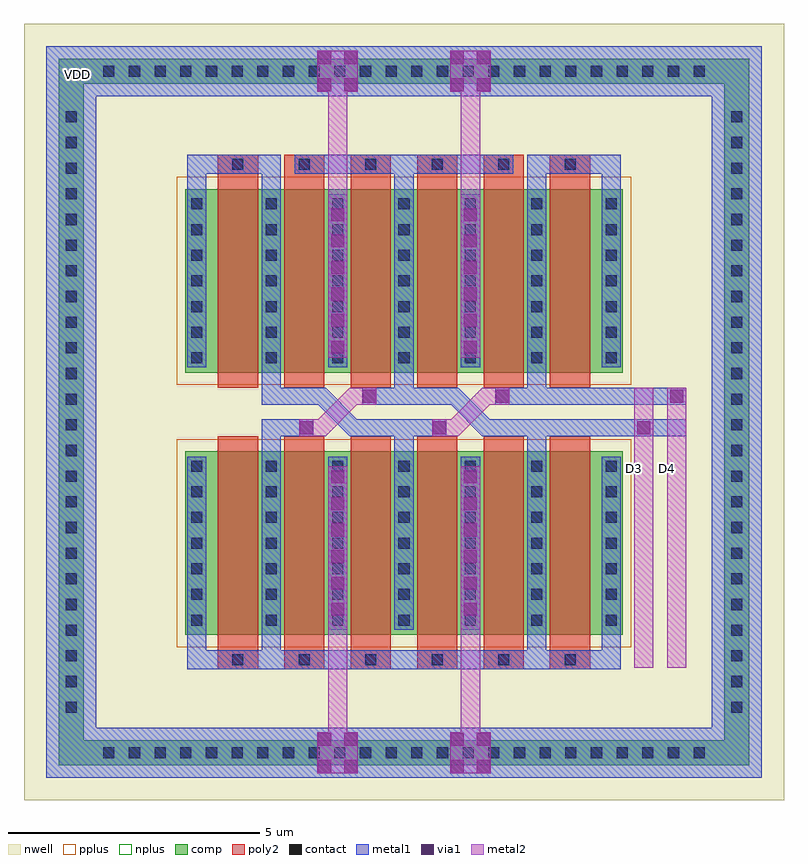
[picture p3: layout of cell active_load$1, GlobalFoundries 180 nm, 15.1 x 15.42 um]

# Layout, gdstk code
import gdstk
lib = gdstk.Library(unit=1e-6, precision=1e-09)
def R(c, l, rs):  # rectangles x0, y0, x1, y1
    for r in rs: c.add(gdstk.rectangle(r[:2], r[2:], *l))
def A(c, l, x, y, w, h, nx, ny, dx, dy):  # array of equal rectangles
    R(c, l, [(x+i*dx, y+j*dy, x+i*dx+w, y+j*dy+h) for i in range(nx) for j in range(ny)])
nwell = (21, 0)
comp = (22, 0)
poly2 = (30, 0)
pplus = (31, 0)
nplus = (32, 0)
contact = (33, 0)
metal1 = (34, 0)
via1 = (35, 0)
metal2 = (36, 0)

pfet_11 = lib.new_cell('pfet$11')
R(pfet_11, nwell, [(-0.9,-0.44,8.68,4.09)])
R(pfet_11, comp, [(-0.46,0,0,3.65), (0,0,7.78,3.65), (7.78,0,8.24,3.65)])
A(pfet_11, poly2, 0.19, -0.3, 0.8, 4.25, 6, 1, 1.32, 0)
A(pfet_11, poly2, 0.19, 3.95, 0.8, 0.38, 6, 1, 1.32, 0)
R(pfet_11, pplus, [(-0.63,-0.24,8.41,3.89)])
A(pfet_11, contact, -0.34, 0.185, 0.22, 0.22, 1, 7, 0, 0.51)
A(pfet_11, contact, 1.14, 0.185, 0.22, 0.22, 5, 7, 1.32, 0.51)
A(pfet_11, contact, 7.9, 0.185, 0.22, 0.22, 1, 7, 0, 0.51)
A(pfet_11, contact, 0.48, 4.03, 0.22, 0.22, 6, 1, 1.32, 0)
A(pfet_11, metal1, 1.06, 0.105, 0.38, 3.44, 5, 1, 1.32, 0)
A(pfet_11, metal1, 0.4, 3.95, 0.38, 0.38, 6, 1, 1.32, 0)
R(pfet_11, metal1, [(-0.42,0.105,-0.04,3.545), (7.82,0.105,8.2,3.545)])

active_load_1 = lib.new_cell('active_load$1')
R(active_load_1, nwell, [(-4.125,-7.84,10.975,7.58)])
A(active_load_1, contact, -2.55, -7.01, 0.22, 0.22, 24, 2, 0.51, 13.54)
A(active_load_1, contact, -3.295, -6.105, 0.22, 0.22, 1, 24, 0, 0.51)
A(active_load_1, contact, 9.925, -6.105, 0.22, 0.22, 1, 24, 0, 0.51)
A(active_load_1, via1, 1.975, -3.125, 0.26, 0.26, 1, 3, 0, 0.52)
A(active_load_1, via1, 4.615, -3.125, 0.26, 0.26, 1, 3, 0, 0.52)
A(active_load_1, via1, 1.975, 1.565, 0.26, 0.26, 1, 3, 0, 0.52)
A(active_load_1, via1, 4.615, 1.565, 0.26, 0.26, 1, 3, 0, 0.52)
R(active_load_1, via1, [(1.715,-7.295,1.975,-7.035), (2.235,-7.295,2.495,-7.035), (4.355,-7.295,4.615,-7.035), (4.875,-7.295,5.135,-7.035), (1.715,-6.765,1.975,-6.505), (2.235,-6.765,2.495,-6.505), (4.355,-6.765,4.615,-6.505), (4.875,-6.765,5.135,-6.505), (1.975,-4.18,2.235,-3.92), (4.615,-4.18,4.875,-3.92), (1.975,-3.66,2.235,-3.4), (4.615,-3.66,4.875,-3.4), (1.975,-1.55,2.235,-1.29), (4.615,-1.55,4.875,-1.29), (1.355,-0.57,1.615,-0.31), (3.995,-0.57,4.255,-0.31), (8.055,-0.57,8.315,-0.31), (2.605,0.05,2.865,0.31), (5.245,0.05,5.505,0.31), (8.715,0.05,8.975,0.31), (1.975,1.03,2.235,1.29), (4.615,1.03,4.875,1.29), (1.975,3.14,2.235,3.4), (4.615,3.14,4.875,3.4), (1.975,3.66,2.235,3.92), (4.615,3.66,4.875,3.92), (1.715,6.245,1.975,6.505), (2.235,6.245,2.495,6.505), (4.355,6.245,4.615,6.505), (4.875,6.245,5.135,6.505), (1.715,6.775,1.975,7.035), (2.235,6.775,2.495,7.035), (4.355,6.775,4.615,7.035), (4.875,6.775,5.135,7.035)])
R(active_load_1, metal2, [(1.705,-7.305,2.505,-6.495), (4.345,-7.305,5.145,-6.495), (1.705,6.235,2.505,7.045), (4.345,6.235,5.145,7.045)])
active_load_1.add(gdstk.FlexPath([(2.595,0.18),(4.435,0.18),(5.055,-0.44),(9.035,-0.44)], 0.34, ends="flush", simple_path=True, layer=34, datatype=0))  # metal1
active_load_1.add(gdstk.FlexPath([(0.595,0.18),(1.795,0.18),(2.415,-0.44),(4.265,-0.44)], 0.34, ends="flush", simple_path=True, layer=34, datatype=0))  # metal1
active_load_1.add(gdstk.FlexPath([(0.595,-0.44),(1.625,-0.44)], 0.34, ends="flush", simple_path=True, layer=34, datatype=0))  # metal1
active_load_1.add(gdstk.FlexPath([(5.235,0.18),(9.035,0.18)], 0.34, ends="flush", simple_path=True, layer=34, datatype=0))  # metal1
active_load_1.add(gdstk.FlexPath([(3.425,-0.61),(3.425,-1.015)], 0.38, ends="flush", simple_path=True, layer=34, datatype=0))  # metal1
active_load_1.add(gdstk.FlexPath([(0.785,0.755),(0.785,0.35)], 0.38, ends="flush", simple_path=True, layer=34, datatype=0))  # metal1
active_load_1.add(gdstk.FlexPath([(0.785,-0.61),(0.785,-1.015)], 0.38, ends="flush", simple_path=True, layer=34, datatype=0))  # metal1
active_load_1.add(gdstk.FlexPath([(3.425,0.755),(3.425,0.35)], 0.38, ends="flush", simple_path=True, layer=34, datatype=0))  # metal1
active_load_1.add(gdstk.FlexPath([(6.065,-0.61),(6.065,-1.015)], 0.38, ends="flush", simple_path=True, layer=34, datatype=0))  # metal1
active_load_1.add(gdstk.FlexPath([(6.065,0.755),(6.065,0.35)], 0.38, ends="flush", simple_path=True, layer=34, datatype=0))  # metal1
active_load_1.add(gdstk.FlexPath([(-0.695,-4.455),(-0.695,-4.86)], 0.38, ends="flush", simple_path=True, layer=34, datatype=0))  # metal1
active_load_1.add(gdstk.FlexPath([(-0.695,4.195),(-0.695,4.79),(0.785,4.79),(0.785,4.195)], 0.38, ends="flush", simple_path=True, layer=34, datatype=0))  # metal1
active_load_1.add(gdstk.FlexPath([(7.545,-4.455),(7.545,-4.86)], 0.38, ends="flush", simple_path=True, layer=34, datatype=0))  # metal1
active_load_1.add(gdstk.FlexPath([(6.065,4.195),(6.065,4.79),(7.545,4.79),(7.545,4.195)], 0.38, ends="flush", simple_path=True, layer=34, datatype=0))  # metal1
active_load_1.add(gdstk.FlexPath([(1.635,4.79),(5.215,4.79)], 0.38, ends="flush", simple_path=True, layer=34, datatype=0))  # metal1
active_load_1.add(gdstk.FlexPath([(3.425,4.195),(3.425,4.6)], 0.38, ends="flush", simple_path=True, layer=34, datatype=0))  # metal1
active_load_1.add(gdstk.FlexPath([(1.255,-5.05),(-0.885,-5.05)], 0.38, ends="flush", simple_path=True, layer=34, datatype=0))  # metal1
active_load_1.add(gdstk.FlexPath([(0.785,-4.455),(0.785,-4.86)], 0.38, ends="flush", simple_path=True, layer=34, datatype=0))  # metal1
active_load_1.add(gdstk.FlexPath([(5.595,-5.05),(7.735,-5.05)], 0.38, ends="flush", simple_path=True, layer=34, datatype=0))  # metal1
active_load_1.add(gdstk.FlexPath([(6.065,-4.455),(6.065,-4.86)], 0.38, ends="flush", simple_path=True, layer=34, datatype=0))  # metal1
active_load_1.add(gdstk.FlexPath([(1.635,-5.05),(5.215,-5.05)], 0.38, ends="flush", simple_path=True, layer=34, datatype=0))  # metal1
active_load_1.add(gdstk.FlexPath([(-2.685,6.64),(10.035,6.64),(10.035,-6.9),(-3.185,-6.9),(-3.185,7.14)], 1, ends="flush", simple_path=True, layer=34, datatype=0))  # metal1
active_load_1.add(gdstk.FlexPath([(-2.685,6.64),(10.035,6.64),(10.035,-6.9),(-3.185,-6.9),(-3.185,7.14)], 1, ends="flush", simple_path=True, layer=32, datatype=0))  # nplus
active_load_1.add(gdstk.FlexPath([(-2.935,6.64),(10.035,6.64),(10.035,-6.9),(-3.185,-6.9),(-3.185,6.89)], 0.5, ends="flush", simple_path=True, layer=22, datatype=0))  # comp
active_load_1.add(gdstk.FlexPath([(1.345,-0.44),(1.795,-0.44),(2.415,0.18),(2.875,0.18)], 0.34, ends="flush", simple_path=True, layer=36, datatype=0))  # metal2
active_load_1.add(gdstk.FlexPath([(3.985,-0.44),(4.435,-0.44),(5.055,0.18),(5.515,0.18)], 0.34, ends="flush", simple_path=True, layer=36, datatype=0))  # metal2
active_load_1.add(gdstk.FlexPath([(4.745,-1.21),(4.745,-6.495)], 0.38, ends="flush", simple_path=True, layer=36, datatype=0))  # metal2
active_load_1.add(gdstk.FlexPath([(2.105,-1.21),(2.105,-6.495)], 0.38, ends="flush", simple_path=True, layer=36, datatype=0))  # metal2
active_load_1.add(gdstk.FlexPath([(4.745,0.95),(4.745,6.235)], 0.38, ends="flush", simple_path=True, layer=36, datatype=0))  # metal2
active_load_1.add(gdstk.FlexPath([(2.105,0.95),(2.105,6.235)], 0.38, ends="flush", simple_path=True, layer=36, datatype=0))  # metal2
active_load_1.add(gdstk.FlexPath([(8.185,-5.215),(8.185,0.35)], 0.38, ends="flush", simple_path=True, layer=36, datatype=0))  # metal2
active_load_1.add(gdstk.FlexPath([(8.845,-5.215),(8.845,0.35)], 0.38, ends="flush", simple_path=True, layer=36, datatype=0))  # metal2
active_load_1.add(gdstk.Reference(pfet_11, (-0.465,-0.91), x_reflection=True))
active_load_1.add(gdstk.Reference(pfet_11, (-0.465,0.65)))
active_load_1.add(gdstk.Label('D3', (8.01,-1.25), layer=34, texttype=10))
active_load_1.add(gdstk.Label('D4', (8.665,-1.26), layer=34, texttype=10))
active_load_1.add(gdstk.Label('VDD', (-3.06,6.58), layer=34, texttype=10))

lib.write_gds('active_load_1.gds')
